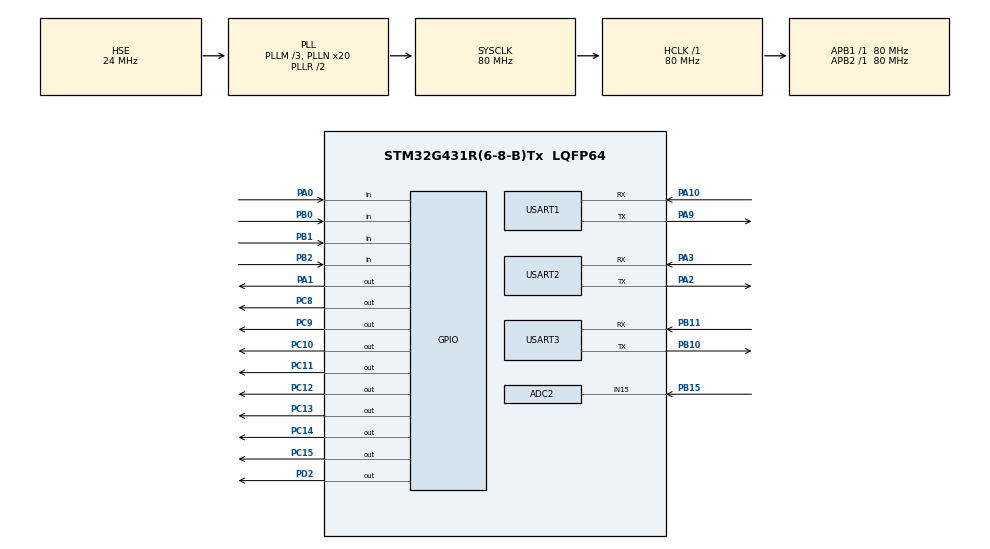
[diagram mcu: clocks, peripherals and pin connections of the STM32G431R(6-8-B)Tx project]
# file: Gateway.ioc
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ADC2.Channel-0\#ChannelRegularConversion=ADC_CHANNEL_15
ADC2.NbrOfConversionFlag=1
ADC2.OffsetNumber-0\#ChannelRegularConversion=ADC_OFFSET_NONE
ADC2.Rank-0\#ChannelRegularConversion=1
ADC2.SamplingTime-0\#ChannelRegularConversion=ADC_SAMPLETIME_2CYCLES_5
FREERTOS.Queues01=sampleQueue,8,4,1,Dynamic,NULL,NULL
FREERTOS.Tasks01=watchdogTask,24,512,StartWatchdogTask,As weak,NULL,Dynamic,NULL,NULL;modbusTask,32,512,StartModbusTask,As weak,NULL,Dynamic,NULL,NULL;sampleTask,32,256,StartSampleTask,As weak,NULL,Dynamic,NULL,NULL;cloudTask,24,512,StartCloudTask,Default,NULL,Dynamic,NULL,NULL;cmdTask,24,1024,StartCmdTask,As weak,NULL,Dynamic,NULL,NULL;ledTask,16,256,StartLedTask,As weak,NULL,Dynamic,NULL,NULL;logTask,16,256,StartLogTask,As weak,NULL,Dynamic,NULL,NULL
FREERTOS.configTOTAL_HEAP_SIZE=30000
FREERTOS.configUSE_IDLE_HOOK=1
FREERTOS.configUSE_TICK_HOOK=0
FREERTOS.configUSE_TRACE_FACILITY=1
IWDG.Prescaler=IWDG_PRESCALER_256
IWDG.Reload=625
Mcu.Family=STM32G4
Mcu.Name=STM32G431R(6-8-B)Tx
Mcu.Package=LQFP64
NVIC.PriorityGroup=NVIC_PRIORITYGROUP_4
NVIC.USART1_IRQn=true\:5\:0\:false\:false\:true\:true\:true\:true\:true
NVIC.USART2_IRQn=true\:5\:0\:false\:false\:true\:true\:true\:true\:true
NVIC.USART3_IRQn=true\:5\:0\:false\:false\:true\:true\:true\:true\:true
PA0.GPIO_PuPd=GPIO_PULLUP
PA0.Signal=GPIO_Input
PA1.PinState=GPIO_PIN_SET
PA1.Signal=GPIO_Output
PA10.Mode=Asynchronous
PA10.Signal=USART1_RX
PA13.Mode=Serial_Wire
PA13.Signal=SYS_JTMS-SWDIO
PA14.Mode=Serial_Wire
PA14.Signal=SYS_JTCK-SWCLK
PA2.Mode=Asynchronous
PA2.Signal=USART2_TX
PA3.Mode=Asynchronous
PA3.Signal=USART2_RX
PA9.Mode=Asynchronous
PA9.Signal=USART1_TX
PB0.GPIO_PuPd=GPIO_PULLUP
PB0.Signal=GPIO_Input
PB1.GPIO_PuPd=GPIO_PULLUP
PB1.Signal=GPIO_Input
PB10.Mode=Asynchronous
PB10.Signal=USART3_TX
PB11.GPIO_PuPd=GPIO_PULLUP
PB11.Mode=Asynchronous
PB11.Signal=USART3_RX
PB15.Mode=IN15-Single-Ended
PB15.Signal=ADC2_IN15
PB2.GPIO_PuPd=GPIO_PULLUP
PB2.Signal=GPIO_Input
PC10.PinState=GPIO_PIN_SET
PC10.Signal=GPIO_Output
PC11.PinState=GPIO_PIN_SET
PC11.Signal=GPIO_Output
PC12.PinState=GPIO_PIN_SET
PC12.Signal=GPIO_Output
PC13.PinState=GPIO_PIN_SET
PC13.Signal=GPIO_Output
PC14-OSC32_IN.PinState=GPIO_PIN_SET
PC14-OSC32_IN.Signal=GPIO_Output
PC15-OSC32_OUT.PinState=GPIO_PIN_SET
PC15-OSC32_OUT.Signal=GPIO_Output
PC8.PinState=GPIO_PIN_SET
PC8.Signal=GPIO_Output
PC9.PinState=GPIO_PIN_SET
PC9.Signal=GPIO_Output
PD2.PinState=GPIO_PIN_SET
PD2.Signal=GPIO_Output
PF0-OSC_IN.Mode=HSE-External-Oscillator
PF0-OSC_IN.Signal=RCC_OSC_IN
PF1-OSC_OUT.Mode=HSE-External-Oscillator
PF1-OSC_OUT.Signal=RCC_OSC_OUT
ProjectManager.HeapSize=0x200
ProjectManager.StackSize=0x400
ProjectManager.TargetToolchain=MDK-ARM V5.32
RCC.ADC12Freq_Value=80000000
RCC.AHBFreq_Value=80000000
RCC.APB1Freq_Value=80000000
RCC.APB1TimFreq_Value=80000000
RCC.APB2Freq_Value=80000000
RCC.APB2TimFreq_Value=80000000
RCC.CortexFreq_Value=80000000
RCC.EXTERNAL_CLOCK_VALUE=12288000
RCC.HCLKFreq_Value=80000000
RCC.HSE_VALUE=24000000
RCC.HSI48_VALUE=48000000
RCC.HSI_VALUE=16000000
RCC.LSE_VALUE=32768
RCC.PLLM=RCC_PLLM_DIV3
RCC.PLLN=20
RCC.PLLSourceVirtual=RCC_PLLSOURCE_HSE
RCC.SYSCLKFreq_VALUE=80000000
RCC.SYSCLKSource=RCC_SYSCLKSOURCE_PLLCLK
RCC.USBFreq_Value=80000000
RCC.VCOOutputFreq_Value=160000000
USART1.VirtualMode-Asynchronous=VM_ASYNC
USART2.VirtualMode-Asynchronous=VM_ASYNC
USART3.VirtualMode-Asynchronous=VM_ASYNC
VP_FREERTOS_VS_CMSIS_V2.Mode=CMSIS_V2
VP_IWDG_VS_IWDG.Mode=IWDG_Activate
VP_SYS_VS_DBSignals.Mode=DisableDeadBatterySignals
VP_TIM3_VS_ClockSourceINT.Mode=Internal
VP_TIM6_VS_ClockSourceINT.Mode=Enable_Timer
board=custom

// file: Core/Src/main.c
/* USER CODE BEGIN Header */
/**
  ******************************************************************************
  * @file           : main.c
  * @brief          : Main program body
  ******************************************************************************
  * @attention
  *
  * Copyright (c) 2026 STMicroelectronics.
  * All rights reserved.
  *
  * This software is licensed under terms that can be found in the LICENSE file
  * in the root directory of this software component.
  * If no LICENSE file comes with this software, it is provided AS-IS.
  *
  ******************************************************************************
  */
/* USER CODE END Header */
#include "main.h"
#include "cmsis_os.h"
#include "adc.h"
#include "iwdg.h"
#include "tim.h"
#include "usart.h"
#include "gpio.h"

/* USER CODE BEGIN Includes */
#include "bsp_uart.h"
#include "bsp_led.h"
#include "bsp_adc.h"
#include "string.h"
#include "app_tasks.h"
#include "log.h"
/* USER CODE END Includes */

void SystemClock_Config(void);
void MX_FREERTOS_Init(void);

/* USER CODE BEGIN 0 */
static void log_reset_cause(void)
{
    uint32_t csr = RCC->CSR;
    log_infof("[RESET] CSR=0x%08X", (unsigned int)csr);

    if (__HAL_RCC_GET_FLAG(RCC_FLAG_BORRST))  log_info(" BOR/POR");
    if (__HAL_RCC_GET_FLAG(RCC_FLAG_PINRST))  log_info(" NRST");
    if (__HAL_RCC_GET_FLAG(RCC_FLAG_SFTRST))  log_info(" SFT");
    if (__HAL_RCC_GET_FLAG(RCC_FLAG_IWDGRST)) log_info(" IWDG");
    if (__HAL_RCC_GET_FLAG(RCC_FLAG_WWDGRST)) log_info(" WWDG");
    if (__HAL_RCC_GET_FLAG(RCC_FLAG_LPWRRST)) log_info(" LPWR");
    if (__HAL_RCC_GET_FLAG(RCC_FLAG_OBLRST))  log_info(" OBL");

    log_info("\r\n");
    __HAL_RCC_CLEAR_RESET_FLAGS();
}
/* USER CODE END 0 */

int main(void)
{

  /* MCU Configuration--------------------------------------------------------*/

  /* Reset of all peripherals, Initializes the Flash interface and the Systick. */
  HAL_Init();

  /* Configure the system clock */
  SystemClock_Config();

  /* Initialize all configured peripherals */
  MX_GPIO_Init();
  MX_TIM3_Init();
  MX_TIM6_Init();
  MX_ADC2_Init();
  MX_USART2_UART_Init();
  MX_USART3_UART_Init();
  /* IWDG 延后到长初始化之后再启动，避免 LCD/业务 init 超时复位导致白屏死循环 */
  MX_USART1_UART_Init();
  /* USER CODE BEGIN 2 */
  /* --- 阶段1心跳：打开锁存后 PC8 闪1次，确认 MX 外设初始化 OK --- */
  HAL_GPIO_WritePin(GPIOD, GPIO_PIN_2, GPIO_PIN_SET);
  HAL_GPIO_TogglePin(GPIOC, GPIO_PIN_8);
  HAL_Delay(200);
  HAL_GPIO_TogglePin(GPIOC, GPIO_PIN_8);
  HAL_GPIO_WritePin(GPIOD, GPIO_PIN_2, GPIO_PIN_RESET);

  /* 复位原因日志（USART1已就绪） */
  log_reset_cause();

  HAL_Delay(200);
  app_init_before_scheduler();

  /* 长初始化完成后再启动 IWDG（约 4~5s 超时），由 watchdogTask 负责喂狗 */
  MX_IWDG_Init();
  /* USER CODE END 2 */

  /* Init scheduler */
  osKernelInitialize();

  /* Call init function for freertos objects (in cmsis_os2.c) */
  MX_FREERTOS_Init();

  /* Start scheduler */
  osKernelStart();

  /* We should never get here as control is now taken by the scheduler */

  /* Infinite loop */
  while (1)
  {

  }
}

void SystemClock_Config(void)
{
  RCC_OscInitTypeDef RCC_OscInitStruct = {0};
  RCC_ClkInitTypeDef RCC_ClkInitStruct = {0};

  /** Configure the main internal regulator output voltage
  */
  HAL_PWREx_ControlVoltageScaling(PWR_REGULATOR_VOLTAGE_SCALE1);

  /** Initializes the RCC Oscillators according to the specified parameters
  * in the RCC_OscInitTypeDef structure.
  */
  RCC_OscInitStruct.OscillatorType = RCC_OSCILLATORTYPE_LSI|RCC_OSCILLATORTYPE_HSE;
  RCC_OscInitStruct.HSEState = RCC_HSE_ON;
  RCC_OscInitStruct.LSIState = RCC_LSI_ON;
  RCC_OscInitStruct.PLL.PLLState = RCC_PLL_ON;
  RCC_OscInitStruct.PLL.PLLSource = RCC_PLLSOURCE_HSE;
  RCC_OscInitStruct.PLL.PLLM = RCC_PLLM_DIV3;
  RCC_OscInitStruct.PLL.PLLN = 20;
  RCC_OscInitStruct.PLL.PLLP = RCC_PLLP_DIV2;
  RCC_OscInitStruct.PLL.PLLQ = RCC_PLLQ_DIV2;
  RCC_OscInitStruct.PLL.PLLR = RCC_PLLR_DIV2;
  if (HAL_RCC_OscConfig(&RCC_OscInitStruct) != HAL_OK)
  {
    Error_Handler();
  }

  /** Initializes the CPU, AHB and APB buses clocks
  */
  RCC_ClkInitStruct.ClockType = RCC_CLOCKTYPE_HCLK|RCC_CLOCKTYPE_SYSCLK
                              |RCC_CLOCKTYPE_PCLK1|RCC_CLOCKTYPE_PCLK2;
  RCC_ClkInitStruct.SYSCLKSource = RCC_SYSCLKSOURCE_PLLCLK;
  RCC_ClkInitStruct.AHBCLKDivider = RCC_SYSCLK_DIV1;
  RCC_ClkInitStruct.APB1CLKDivider = RCC_HCLK_DIV1;
  RCC_ClkInitStruct.APB2CLKDivider = RCC_HCLK_DIV1;

  if (HAL_RCC_ClockConfig(&RCC_ClkInitStruct, FLASH_LATENCY_2) != HAL_OK)
  {
    Error_Handler();
  }
}

void Error_Handler(void)
{
  __disable_irq();
  while (1)
  {
  }
}

#ifdef  USE_FULL_ASSERT
/**
  * @brief  Reports the name of the source file and the source line number
  *         where the assert_param error has occurred.
  * @param  file: pointer to the source file name
  * @param  line: assert_param error line source number
  * @retval None
  */
void assert_failed(uint8_t *file, uint32_t line)
{
  /* USER CODE BEGIN 6 */
  (void)file;
  (void)line;
  /* USER CODE END 6 */
}
#endif /* USE_FULL_ASSERT */

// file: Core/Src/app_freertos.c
/* USER CODE BEGIN Header */
/**
  ******************************************************************************
  * @attention
  * Copyright (c) 2026  Gateway Project
  * FreeRTOS 任务创建：4 级优先级设计（高→低：Modbus/Sample > Cloud > LED/Log）
  ******************************************************************************
  */
/* USER CODE END Header */

#include "FreeRTOS.h"
#include "task.h"
#include "main.h"
#include "cmsis_os.h"

/* USER CODE BEGIN Includes */
#include "app_tasks.h"
#include "cloud_service.h"
#include "log.h"
#include "bsp_led.h"
/* USER CODE END Includes */

/* Definitions for watchdogTask */
osThreadId_t watchdogTaskHandle;
const osThreadAttr_t watchdogTask_attributes = {
  .name = "watchdogTask",
  .priority = (osPriority_t) osPriorityRealtime,
  .stack_size = 512 * 4
};
/* Definitions for modbusTask */
osThreadId_t modbusTaskHandle;
const osThreadAttr_t modbusTask_attributes = {
  .name = "modbusTask",
  .priority = (osPriority_t) osPriorityAboveNormal,
  .stack_size = 512 * 4
};
/* Definitions for sampleTask */
osThreadId_t sampleTaskHandle;
const osThreadAttr_t sampleTask_attributes = {
  .name = "sampleTask",
  .priority = (osPriority_t) osPriorityAboveNormal,
  .stack_size = 256 * 4
};
/* Definitions for cloudTask */
osThreadId_t cloudTaskHandle;
const osThreadAttr_t cloudTask_attributes = {
  .name = "cloudTask",
  .priority = (osPriority_t) osPriorityNormal,
  .stack_size = 512 * 4
};
/* Definitions for cmdTask */
osThreadId_t cmdTaskHandle;
const osThreadAttr_t cmdTask_attributes = {
  .name = "cmdTask",
  .priority = (osPriority_t) osPriorityNormal,
  .stack_size = 768 * 4
};
/* Definitions for ledTask */
osThreadId_t ledTaskHandle;
const osThreadAttr_t ledTask_attributes = {
  .name = "ledTask",
  .priority = (osPriority_t) osPriorityBelowNormal,
  .stack_size = 256 * 4
};
/* Definitions for logTask */
osThreadId_t logTaskHandle;
const osThreadAttr_t logTask_attributes = {
  .name = "logTask",
  .priority = (osPriority_t) osPriorityBelowNormal,
  .stack_size = 256 * 4
};
/* Definitions for sampleQueue */
osMessageQueueId_t sampleQueueHandle;
const osMessageQueueAttr_t sampleQueue_attributes = {
  .name = "sampleQueue"
};

/* USER CODE BEGIN FunctionPrototypes */
void MX_FREERTOS_Init(void);
/* USER CODE END FunctionPrototypes */

void MX_FREERTOS_Init(void); /* (MISRA C 2004 rule 8.1) */

/* Hook prototypes */
void vApplicationIdleHook(void);

/* USER CODE BEGIN 2 */
void vApplicationIdleHook( void )
{
   /* vApplicationIdleHook() will only be called if configUSE_IDLE_HOOK is set
   to 1 in FreeRTOSConfig.h. It will be called on each iteration of the idle
   task. It is essential that code added to this hook function never attempts
   to block in any way (for example, call xQueueReceive() with a block time
   specified, or call vTaskDelay()). If the application makes use of the
   vTaskDelete() API function (as this demo application does) then it is also
   important that vApplicationIdleHook() is permitted to return to its calling
   function, because it is the responsibility of the idle task to clean up
   memory allocated by the kernel to any task that has since been deleted. */
}
/* USER CODE END 2 */

void MX_FREERTOS_Init(void) {

  /* USER CODE BEGIN RTOS_MUTEX */
  /* LCD 与 LED 共享 GPIOC 数据总线，创建互斥锁防止刷新时相互抢占 */
  g_lcd_led_bus_mutex = osMutexNew(NULL);
  if (g_lcd_led_bus_mutex == NULL) {
      log_info("[ERROR] LCD/LED bus mutex create failed\r\n");
  }

  /* UART2 互斥锁：cloudTask 和 cmdTask 共享 UART2 发送 */
  g_uart2_mutex = osMutexNew(NULL);
  if (g_uart2_mutex == NULL) {
      log_info("[ERROR] UART2 mutex create failed\r\n");
  }
  /* USER CODE END RTOS_MUTEX */

  /* Create the queue(s) */
  /* creation of sampleQueue */
  sampleQueueHandle = osMessageQueueNew (8, 4, &sampleQueue_attributes);

  /* USER CODE BEGIN RTOS_QUEUES */
  /* 命令队列：cloudTask 投递，cmdTask 处理 */
  g_cmd_queue = osMessageQueueNew(16, sizeof(cloud_cmd_t), NULL);
  if (g_cmd_queue == NULL) {
      log_info("[ERROR] cmdQueue create failed\r\n");
  }
  /* USER CODE END RTOS_QUEUES */

  /* Create the thread(s) */
  /* creation of watchdogTask */
  watchdogTaskHandle = osThreadNew(app_watchdog_task, NULL, &watchdogTask_attributes);

  /* creation of modbusTask */
  modbusTaskHandle = osThreadNew(app_modbus_task, NULL, &modbusTask_attributes);

  /* creation of sampleTask */
  sampleTaskHandle = osThreadNew(app_sensor_task, NULL, &sampleTask_attributes);

  /* creation of cloudTask */
  cloudTaskHandle = osThreadNew(app_cloud_task, NULL, &cloudTask_attributes);
  if (cloudTaskHandle == NULL) {
    log_info("[ERROR] cloudTask create failed! Check heap size.\r\n");
  }

  /* creation of cmdTask */
  cmdTaskHandle = osThreadNew(app_cmd_task, NULL, &cmdTask_attributes);

  /* creation of ledTask */
  ledTaskHandle = osThreadNew(app_led_task, NULL, &ledTask_attributes);

  /* creation of logTask */
  logTaskHandle = osThreadNew(app_log_task, NULL, &logTask_attributes);

  /* USER CODE BEGIN RTOS_THREADS */
  /* ================================================================
     7 任务架构（优先级从高到低）：
       osPriorityRealtime:     watchdogTask (500ms, 独立喂狗+心跳检测)
       osPriorityAboveNormal:  modbusTask   (1000ms, Modbus RTU 主站轮询)
                               sampleTask   (200ms, 传感器采集+滤波+告警)
       osPriorityNormal:       cloudTask    (500ms, 云端数据上报+命令接收)
                               cmdTask      (事件驱动, 云端命令处理)
       osPriorityBelowNormal:  ledTask      (1000ms, OLED显示+状态LED)
                               logTask      (1000ms, 串口日志+运行时间)
     ================================================================ */
  /* USER CODE END RTOS_THREADS */

}
